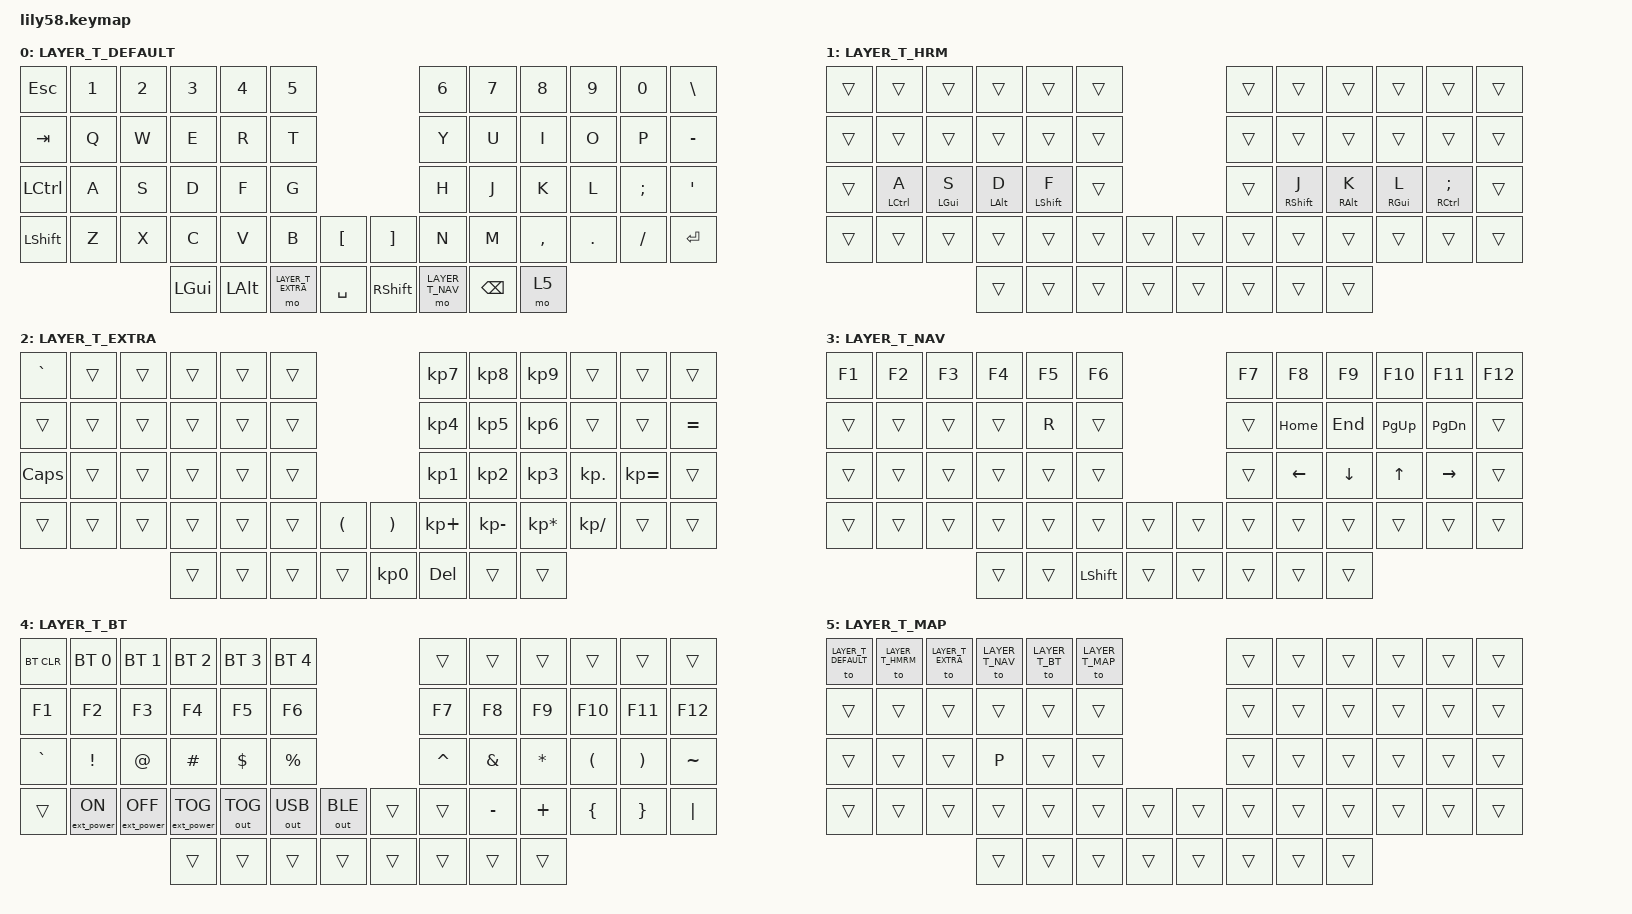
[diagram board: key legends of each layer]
/*
 * Copyright (c) 2020 The ZMK Contributors
 *
 * SPDX-License-Identifier: MIT
 */

#include <behaviors.dtsi>
#include <dt-bindings/zmk/bt.h>
#include <dt-bindings/zmk/ext_power.h>
#include <dt-bindings/zmk/keys.h>
#include <dt-bindings/zmk/outputs.h>

// / enum layers = {

#define LAYER_T_DEFAULT 0
#define LAYER_T_HMRM 1
#define LAYER_T_EXTRA 2
#define LAYER_T_NAV 3
#define LAYER_T_BT 4
#define LAYER_T_MAP 5
#define LAYER_T_MAX 6

// }

/ {
    behaviors {
        hml: home_row_mod_left {
            compatible = "zmk,behavior-hold-tap";
            #binding-cells = <2>;
            flavor = "balanced";
            require-prior-idle-ms = <150>;
            tapping-term-ms = <280>;
            quick-tap-ms = <175>;
            bindings = <&kp>, <&kp>;

            hold-trigger-key-positions = < 6 7 8 9 10 11 18 19 20 21 22 23 30 31 32 33 34 35 42 43 44 45 46 47 >; // List of keys on the right side of the keyboard
            hold-trigger-on-release;
        };

        hmr: home_row_mod_right {
            compatible = "zmk,behavior-hold-tap";
            #binding-cells = <2>;
            flavor = "balanced";
            require-prior-idle-ms = <150>;
            tapping-term-ms = <280>;
            quick-tap-ms = <175>;
            bindings = <&kp>, <&kp>;

            hold-trigger-key-positions = < 1 2 3 4 5 12 13 14 15 16 17 24 25 26 27 28 29 36 37 38 39 40 41 >; // List of keys on the left side of the keyboard
            hold-trigger-on-release;
        };
    };
};

/ {
    keymap {
        compatible = "zmk,keymap";

        LAYER_T_DEFAULT {
            bindings = <
&kp ESC    &kp N1  &kp N2  &kp N3        &kp N4        &kp N5                                    &kp N6           &kp N7         &kp N8           &kp N9   &kp N0    &kp BACKSLASH
&kp TAB    &kp Q   &kp W   &kp E         &kp R         &kp T                                     &kp Y            &kp U          &kp I            &kp O    &kp P     &kp MINUS
&kp LCTRL  &kp A   &kp S   &kp D         &kp F         &kp G                                     &kp H            &kp J          &kp K            &kp L    &kp SEMI  &kp SQT
&kp LSHFT  &kp Z   &kp X   &kp C         &kp V         &kp B              &kp LBKT     &kp RBKT  &kp N            &kp M          &kp COMMA        &kp DOT  &kp FSLH  &kp RET
                           &kp LEFT_GUI  &kp LEFT_ALT  &mo LAYER_T_EXTRA  &kp SPACE    &kp RSHIFT   &mo LAYER_T_NAV  &kp BACKSPACE  &mo 5
            >;
        };

        LAYER_T_HRM {
            bindings = <
&trans  &trans               &trans           &trans           &trans             &trans                    &trans  &trans              &trans            &trans            &trans                        &trans
&trans  &trans               &trans           &trans           &trans             &trans                    &trans  &trans              &trans            &trans            &trans                        &trans
&trans  &hml LEFT_CONTROL A  &hml LEFT_GUI S  &hml LEFT_ALT D  &hml LEFT_SHIFT F  &trans                    &trans  &hmr RIGHT_SHIFT J  &hmr RIGHT_ALT K  &hmr RIGHT_GUI L  &hmr RIGHT_CONTROL SEMICOLON  &trans
&trans  &trans               &trans           &trans           &trans             &trans  &trans    &trans  &trans  &trans              &trans            &trans            &trans                        &trans
                                              &trans           &trans             &trans  &trans    &trans  &trans  &trans              &trans
            >;
        };

        LAYER_T_EXTRA {
            bindings = <
&kp GRAVE  &trans  &trans  &trans  &trans  &trans                                                 &kp KP_NUMBER_7  &kp KP_NUMBER_8  &kp KP_NUMBER_9  &trans         &trans        &trans
&trans     &trans  &trans  &trans  &trans  &trans                                                 &kp KP_NUMBER_4  &kp KP_NUMBER_5  &kp KP_NUMBER_6  &trans         &trans        &kp EQUAL
&kp CAPS   &trans  &trans  &trans  &trans  &trans                                                 &kp KP_NUMBER_1  &kp KP_NUMBER_2  &kp KP_NUMBER_3  &kp KP_DOT     &kp KP_EQUAL  &trans
&trans     &trans  &trans  &trans  &trans  &trans  &kp LEFT_PARENTHESIS    &kp RIGHT_PARENTHESIS  &kp KP_PLUS      &kp KP_MINUS     &kp KP_MULTIPLY  &kp KP_DIVIDE  &trans        &trans
                           &trans  &trans  &trans  &trans                  &kp KP_NUMBER_0        &kp DELETE       &trans           &trans
            >;
        };

        LAYER_T_NAV {
            bindings = <
&kp F1  &kp F2  &kp F3  &kp F4  &kp F5  &kp F6                            &kp F7  &kp F8          &kp F9          &kp F10       &kp F11          &kp F12
&trans  &trans  &trans  &trans  &kp R   &trans                            &trans  &kp HOME        &kp END         &kp PAGE_UP   &kp PAGE_DOWN    &trans
&trans  &trans  &trans  &trans  &trans  &trans                            &trans  &kp LEFT_ARROW  &kp DOWN_ARROW  &kp UP_ARROW  &kp RIGHT_ARROW  &trans
&trans  &trans  &trans  &trans  &trans  &trans          &trans    &trans  &trans  &trans          &trans          &trans        &trans           &trans
                        &trans  &trans  &kp LEFT_SHIFT  &trans    &trans  &trans  &trans          &trans
            >;
        };

        LAYER_T_BT {
            bindings = <
&bt BT_CLR  &bt BT_SEL 0      &bt BT_SEL 1       &bt BT_SEL 2       &bt BT_SEL 3  &bt BT_SEL 4                        &trans     &trans     &trans     &trans    &trans    &trans
&kp F1      &kp F2            &kp F3             &kp F4             &kp F5        &kp F6                              &kp F7     &kp F8     &kp F9     &kp F10   &kp F11   &kp F12
&kp GRAVE   &kp EXCL          &kp AT             &kp HASH           &kp DOLLAR    &kp PRCNT                           &kp CARET  &kp AMPS   &kp ASTRK  &kp LPAR  &kp RPAR  &kp TILDE
&trans      &ext_power EP_ON  &ext_power EP_OFF  &ext_power EP_TOG  &out OUT_TOG  &out OUT_USB  &out OUT_BLE  &trans  &trans     &kp MINUS  &kp PLUS   &kp LBRC  &kp RBRC  &kp PIPE
                                                 &trans             &trans        &trans        &trans        &trans  &trans     &trans     &trans
            >;
        };

        LAYER_T_MAP {
            bindings = <
&to LAYER_T_DEFAULT   &to LAYER_T_HMRM  &to LAYER_T_EXTRA  &to LAYER_T_NAV  &to LAYER_T_BT  &to LAYER_T_MAP                    &trans  &trans  &trans  &trans  &trans  &trans
&trans  &trans  &trans  &trans  &trans  &trans                    &trans  &trans  &trans  &trans  &trans  &trans
&trans  &trans  &trans  &kp P   &trans  &trans                    &trans  &trans  &trans  &trans  &trans  &trans
&trans  &trans  &trans  &trans  &trans  &trans  &trans    &trans  &trans  &trans  &trans  &trans  &trans  &trans
                        &trans  &trans  &trans  &trans    &trans  &trans  &trans  &trans
            >;
        };
    };
};
